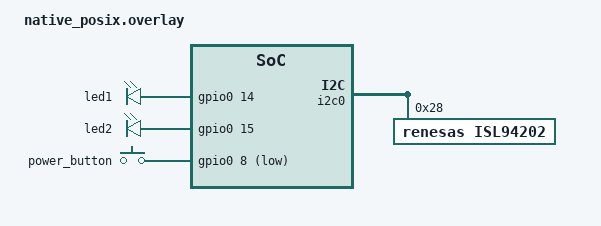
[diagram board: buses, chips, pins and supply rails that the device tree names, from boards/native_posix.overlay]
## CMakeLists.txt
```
# Copyright (c) The Libre Solar Project Contributors
# SPDX-License-Identifier: Apache-2.0

set(BOARD_ROOT ${CMAKE_SOURCE_DIR}/..)
set(DTS_ROOT ${CMAKE_SOURCE_DIR}/..)

set(BOARD "native_posix")

cmake_minimum_required(VERSION 3.13.1)
find_package(Zephyr REQUIRED HINTS $ENV{ZEPHYR_BASE})

project(libre_solar_bms_tests)

add_definitions(-DUNITY_OUTPUT_COLOR)
add_definitions(-DUNITY_EXCLUDE_SETJMP)

zephyr_include_directories(./src)
zephyr_include_directories(../app/src)

zephyr_include_directories(../../modules/thingset/src)
zephyr_include_directories(../../modules/unity/src)

target_sources(app PRIVATE
        ../../modules/unity/src/unity.c
        ../app/src/bms_common.c
        ../app/src/bms_soc.c
        ../app/src/helper.c
        src/main.c
        src/common_tests.c
        src/helper_tests.c
)

zephyr_library_sources_ifdef(CONFIG_BMS_IC_BQ769X2
    src/bq769x2_tests_functions.c
    src/bq769x2_tests_interface.c
)

zephyr_library_sources_ifdef(CONFIG_BMS_IC_ISL94202
    src/isl94202_tests.c
)

# determine git tag and commit hash for automatic firmware versioning
find_package(Git)
if(GIT_FOUND)
    execute_process(
        COMMAND ${GIT_EXECUTABLE} describe --long --dirty --tags
        OUTPUT_VARIABLE FIRMWARE_VERSION_ID
        OUTPUT_STRIP_TRAILING_WHITESPACE)
else()
    set(FIRMWARE_VERSION_ID "unknown")
endif()
add_definitions(-DFIRMWARE_VERSION_ID="${FIRMWARE_VERSION_ID}")
```

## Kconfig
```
rsource "../app/Kconfig"
```

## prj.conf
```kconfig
# Main application configuration (overrides board-specific settings)

CONFIG_TASK_WDT=y
CONFIG_THREAD_NAME=y

CONFIG_REBOOT=y

CONFIG_HWINFO=y

CONFIG_LOG=y
CONFIG_LOG_MODE_MINIMAL=y

CONFIG_SERIAL=y

CONFIG_THINGSET=y
CONFIG_THINGSET_SDK=y
CONFIG_THINGSET_SERIAL=y

# Change default battery nominal capacity (in Ah)
CONFIG_BAT_CAPACITY_AH=100

# Select cell type for initial configuration: LFP (default), NMC, NMC_HV or LTO
CONFIG_CELL_TYPE_LFP=y

CONFIG_BMS_IC=y
CONFIG_BMS_IC_MAX_THERMISTORS=2
```

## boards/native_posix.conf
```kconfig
# required to generate node ID in ThingSet
CONFIG_ENTROPY_GENERATOR=y
CONFIG_ENTROPY_DEVICE_RANDOM_GENERATOR=y
```

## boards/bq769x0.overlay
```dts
/*
 * Copyright (c) The Libre Solar Project Contributors
 *
 * SPDX-License-Identifier: Apache-2.0
 */

#include "native_posix.overlay"

/ {
        pcb {
                num-cells-max = <15>;
        };
};

&bq769x0 {
        status = "okay";
};

&isl94202 {
        status = "disabled";
};
```

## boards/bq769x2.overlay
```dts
/*
 * Copyright (c) The Libre Solar Project Contributors
 *
 * SPDX-License-Identifier: Apache-2.0
 */

#include <dt-bindings/bms_ic/bq769x2.h>

/ {
	aliases {
                bms-ic = &bq769x2;
        };
};

&i2c0 {
	status = "okay";

	bq769x2: bq76952@8 {
		compatible = "ti,bq769x2-i2c";
		reg = <0x08>;
		alert-gpios = <&gpio0 2 GPIO_ACTIVE_HIGH>;
		used-cell-channels = <0xFFFF>;
		/* all NTCs configured with 18k pull-up */
		ts1-pin-config = <0x07>;
		dchg-pin-config = <0x07>;
		cell-temp-pins = <BQ769X2_PIN_TS1>;
		fet-temp-pin = <BQ769X2_PIN_DCHG>;
		board-max-current = <200>;
		shunt-resistor-uohm = <1500>;
		status = "okay";
	};
};
```

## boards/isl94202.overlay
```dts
/*
 * Copyright (c) The Libre Solar Project Contributors
 *
 * SPDX-License-Identifier: Apache-2.0
 */

#include "native_posix.overlay"

&bq769x0 {
        status = "disabled";
};

&bq769x2 {
        status = "disabled";
};

&isl94202 {
        status = "okay";
};
```

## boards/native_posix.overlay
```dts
/*
 * Copyright (c) The Libre Solar Project Contributors
 *
 * SPDX-License-Identifier: Apache-2.0
 */

/ {
	/* delete conflicting nodes from Zephyr native_posix board */
	/delete-node/ aliases;

	pcb {
		compatible = "bms";

		type = "Native POSIX dummy";
		version-str = "v0.1";
		version-num = <1>;

		num-cells-max = <8>;
		num-thermistors-max = <2>;

		current-max = <50>;
		shunt-res = <1500>;
	};

	chosen {
		zephyr,console = &uart0;
		zephyr,shell-uart = &uart0;
		zephyr,flash = &flash0;
	};

	leds {
		compatible = "gpio-leds";
		led1: led_0 {
			gpios = <&gpio0 14 GPIO_ACTIVE_HIGH>;
		};
		led2: led_1 {
			gpios = <&gpio0 15 GPIO_ACTIVE_HIGH>;
		};
	};

	gpio_keys {
		compatible = "gpio-keys";
		power_button: button {
			gpios = <&gpio0 8 GPIO_ACTIVE_LOW>;
		};
	};

	aliases {
		led-red = &led1;
		led-green = &led2;
		sw-pwr = &power_button;
		uart-dbg = &uart0;
		uart-uext = &uart0;
	};
};

&i2c0 {
	bq769x0: bq769x0@8 {
		compatible = "ti,bq769x0";
		reg = <0x08>;    	// ignored (firmware will auto-detect I2C address)
		alert-gpios = <&gpio0 12 GPIO_ACTIVE_HIGH>;
		status = "disabled";
	};

	bq769x2: bq769x2@8 {
		compatible = "ti,bq769x2-i2c";
		reg = <0x08>;	/* 0x10 >> 1 */
		alert-gpios = <&gpio0 8 GPIO_ACTIVE_HIGH>;
		status = "disabled";
	};

	/* selected by default, override via overlay */
	isl94202: isl94202@28 {
		compatible = "renesas,isl94202";
		reg = <0x28>;	/* 0x50 >> 1 */
		status = "okay";
	};
};
```

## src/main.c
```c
/*
 * Copyright (c) The Libre Solar Project Contributors
 *
 * SPDX-License-Identifier: Apache-2.0
 */

#include <bms/bms.h>

#include "bq769x2_tests.h"
#include "common_tests.h"
#include "helper_tests.h"
#include "isl94202_tests.h"

#include "unity.h"

#include <stdio.h>

#include <zephyr/device.h>
#include <zephyr/kernel.h>

#ifdef CONFIG_ARCH_POSIX
#include "posix_board_if.h"
#endif

static const struct device *bms_ic = DEVICE_DT_GET(DT_ALIAS(bms_ic));

struct bms_context bms;

float OCV[] = { // 100, 95, ..., 0 %
    3.392, 3.314, 3.309, 3.308, 3.304, 3.296, 3.283, 3.275, 3.271, 3.268, 3.265,
    3.264, 3.262, 3.252, 3.240, 3.226, 3.213, 3.190, 3.177, 3.132, 2.833
};

void setUp(void)
{}

void tearDown(void)
{}

void setup()
{
    bms_ic_assign_data(bms_ic, &bms.ic_data);

    bms.ic_conf.dis_sc_limit = 35.0;
    bms.ic_conf.dis_sc_delay_us = 200;

    bms.ic_conf.dis_oc_limit = 25.0;
    bms.ic_conf.dis_oc_delay_ms = 320;

    bms.ic_conf.chg_oc_limit = 20.0;
    bms.ic_conf.chg_oc_delay_ms = 320;

    bms.ic_conf.cell_ov_limit = 3.65;
    bms.ic_conf.cell_ov_delay_ms = 2000;

    bms.ic_conf.cell_uv_limit = 2.8;
    bms.ic_conf.cell_uv_delay_ms = 2000;

    bms.ic_conf.dis_ut_limit = -20;
    bms.ic_conf.dis_ot_limit = 45;
    bms.ic_conf.chg_ut_limit = 0;
    bms.ic_conf.chg_ot_limit = 45;
    bms.ic_conf.temp_limit_hyst = 2;

    bms.ocv_points = OCV;

    bms.nominal_capacity_Ah = 45.0;
    bms.ic_data.connected_cells = 4;

    bms.ic_conf.bal_cell_voltage_min = 3.2;
    bms.ic_conf.bal_idle_delay = 10 * 60;
    bms.ic_conf.bal_cell_voltage_diff = 0.01;
    bms.ic_conf.bal_idle_current = 0.1;

    bms_ic_configure(bms_ic, &bms.ic_conf, BMS_IC_CONF_ALL);

    bms_ic_read_data(bms_ic, BMS_IC_DATA_CELL_VOLTAGES);

    bms_soc_reset(&bms, -1);
    bms_ic_set_switches(bms_ic, BMS_SWITCH_DIS, true);
    bms_ic_set_switches(bms_ic, BMS_SWITCH_CHG, true);
}

int main(void)
{
    int err = 0;

    k_sleep(K_MSEC(100));

    setup();

    err += common_tests();

#ifdef CONFIG_BMS_IC_BQ769X0
    err += bq769x0_tests();
#elif defined(CONFIG_BMS_IC_BQ769X2)
    err += bq769x2_tests_functions();
    err += bq769x2_tests_interface();
#elif defined(CONFIG_BMS_IC_ISL94202)
    err += isl94202_tests();
#endif

    err += helper_tests();

#ifdef CONFIG_ARCH_POSIX
    posix_exit(err);
#endif

    return 0;
}
```

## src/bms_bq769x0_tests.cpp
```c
/*
 * Copyright (c) The Libre Solar Project Contributors
 *
 * SPDX-License-Identifier: Apache-2.0
 */

#include "tests.h"

#include "bms.h"

#include <time.h>
#include <stdio.h>

extern BmsConfig bms_conf;
extern BmsStatus bms_status;

extern uint8_t mem_bq[0x60];     // defined in bq769x0_interface_stub

// fill RAM and flash with suitable values
static void init_bq769x0_ram()
{
    /* TODO */
}

void test_bq769x0_init()
{
    init_bq769x0_ram();
    bms_init_hardware();
    TEST_ASSERT(0);
}

void test_bq769x0_read_cell_voltages()
{
    init_bq769x0_ram();
    bms_read_voltages(&bms_status);
    TEST_ASSERT_EQUAL_FLOAT(3.0, roundf(bms_status.cell_voltages[0] * 100) / 100);
    TEST_ASSERT_EQUAL_FLOAT(3.1, roundf(bms_status.cell_voltages[1] * 100) / 100);
    TEST_ASSERT_EQUAL_FLOAT(3.2, roundf(bms_status.cell_voltages[2] * 100) / 100);
    TEST_ASSERT_EQUAL_FLOAT(3.3, roundf(bms_status.cell_voltages[3] * 100) / 100);
    TEST_ASSERT_EQUAL_FLOAT(3.4, roundf(bms_status.cell_voltages[4] * 100) / 100);
    TEST_ASSERT_EQUAL_FLOAT(3.5, roundf(bms_status.cell_voltages[5] * 100) / 100);
    TEST_ASSERT_EQUAL_FLOAT(3.6, roundf(bms_status.cell_voltages[6] * 100) / 100);
    TEST_ASSERT_EQUAL_FLOAT(3.7, roundf(bms_status.cell_voltages[7] * 100) / 100);
}

void test_bq769x0_read_pack_voltage()
{
    init_bq769x0_ram();
    bms_read_voltages(&bms_status);
    TEST_ASSERT_EQUAL_FLOAT(3.3*8, roundf(bms_status.pack_voltage * 10) / 10);
}

void test_bq769x0_read_min_max_avg_voltage()
{
    init_bq769x0_ram();
    bms_read_voltages(&bms_status);
    TEST_ASSERT_EQUAL_FLOAT(3.0, roundf(bms_status.cell_voltage_min * 100) / 100);
    TEST_ASSERT_EQUAL_FLOAT(3.7, roundf(bms_status.cell_voltage_max * 100) / 100);
    TEST_ASSERT_EQUAL_FLOAT(3.35, roundf(bms_status.cell_voltage_avg * 100) / 100);
}

void test_bq769x0_read_pack_current()
{
    /* TODO */
    TEST_ASSERT(0);
}

void test_bq769x0_read_error_flags()
{
    /* TODO */
    TEST_ASSERT(0);
}

void test_bq769x0_read_temperatures()
{
    /* TODO */
    TEST_ASSERT(0);
}

void test_bq769x0_apply_dis_ocp_limits()
{
    /* TODO */
    TEST_ASSERT(0);
}

void test_bq769x0_apply_chg_ocp_limits()
{
    /* TODO */
    TEST_ASSERT(0);
}

void test_bq769x0_apply_dis_scp_limits()
{
    /* TODO */
    TEST_ASSERT(0);
}

void test_bq769x0_apply_cell_ov_limits()
{
    /* TODO */
    TEST_ASSERT(0);
}

void test_bq769x0_apply_cell_uv_limits()
{
    /* TODO */
    TEST_ASSERT(0);
}

int bq769x0_tests()
{
    UNITY_BEGIN();

    //RUN_TEST(test_bq769x0_init);

    //RUN_TEST(test_bq769x0_read_cell_voltages);
    //RUN_TEST(test_bq769x0_read_pack_voltage);
    //RUN_TEST(test_bq769x0_read_min_max_avg_voltage);
    //RUN_TEST(test_bq769x0_read_pack_current);
    //RUN_TEST(test_bq769x0_read_error_flags);
    //RUN_TEST(test_bq769x0_read_temperatures);

    //RUN_TEST(test_bq769x0_apply_dis_ocp_limits);
    //RUN_TEST(test_bq769x0_apply_chg_ocp_limits);
    //RUN_TEST(test_bq769x0_apply_dis_scp_limits);

    //RUN_TEST(test_bq769x0_apply_cell_ov_limits);
    //RUN_TEST(test_bq769x0_apply_cell_uv_limits);

    return UNITY_END();
}
```

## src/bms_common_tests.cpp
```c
/*
 * Copyright (c) The Libre Solar Project Contributors
 *
 * SPDX-License-Identifier: Apache-2.0
 */

#include "tests.h"

#include "bms.h"

#include <time.h>
#include <stdio.h>

extern BmsConfig bms_conf;
extern BmsStatus bms_status;

void init_conf()
{
    bms_conf.cell_ov_limit = 3.65;
    bms_conf.cell_ov_delay_ms = 2000;

    bms_conf.cell_uv_limit = 2.8;
    bms_conf.cell_uv_delay_ms = 2000;

    bms_conf.dis_ut_limit = -20;
    bms_conf.dis_ot_limit = 45;
    bms_conf.chg_ut_limit = 0;
    bms_conf.chg_ot_limit = 45;
    bms_conf.t_limit_hyst = 2;

    bms_conf.bal_cell_voltage_min = 3.2;
    bms_conf.bal_idle_delay = 5*60;
    bms_conf.bal_cell_voltage_diff = 0.01;

    for (int i = 0; i < BOARD_NUM_CELLS_MAX; i++) {
        bms_status.cell_voltages[i] = 3.3;
    }
    bms_status.cell_voltage_min = 3.3;
    bms_status.cell_voltage_max = 3.3;
    bms_status.cell_voltage_avg = 3.3;

    for (int i = 0; i < BOARD_NUM_THERMISTORS_MAX; i++) {
        bms_status.bat_temps[i] = 25;
    }
    bms_status.bat_temp_min = 25;
    bms_status.bat_temp_max = 25;
    bms_status.bat_temp_avg = 25;

    bms_status.state = BMS_STATE_OFF;
    bms_status.error_flags = 0;

    bms_status.full = false;
    bms_status.empty = false;

    bms_status.chg_enable = true;
    bms_status.dis_enable = true;
}

void no_off2dis_if_dis_nok()
{
    init_conf();
    bms_status.empty = true;
    bms_state_machine(&bms_conf, &bms_status);
    TEST_ASSERT_NOT_EQUAL(BMS_STATE_DIS, bms_status.state);

    init_conf();
    bms_status.error_flags |= (1U << BMS_ERR_DIS_OVERTEMP);
    bms_state_machine(&bms_conf, &bms_status);
    TEST_ASSERT_NOT_EQUAL(BMS_STATE_DIS, bms_status.state);
}

void off2dis_if_dis_ok()
{
    init_conf();
    bms_status.full = true;
    bms_state_machine(&bms_conf, &bms_status);
    TEST_ASSERT_EQUAL(BMS_STATE_DIS, bms_status.state);
}

void no_off2chg_if_chg_ok()
{
    init_conf();
    bms_state_machine(&bms_conf, &bms_status);
    TEST_ASSERT_NOT_EQUAL(BMS_STATE_CHG, bms_status.state);
}

void off2chg_if_chg_ok_and_dis_nok()
{
    init_conf();
    bms_status.empty = true;
    bms_state_machine(&bms_conf, &bms_status);
    TEST_ASSERT_EQUAL(BMS_STATE_CHG, bms_status.state);

    init_conf();
    bms_status.error_flags |= (1U << BMS_ERR_DIS_OVERTEMP);
    bms_state_machine(&bms_conf, &bms_status);
    TEST_ASSERT_EQUAL(BMS_STATE_CHG, bms_status.state);
}

void chg2off_if_chg_nok()
{
    init_conf();
    bms_status.state = BMS_STATE_CHG;
    bms_status.full = true;
    bms_state_machine(&bms_conf, &bms_status);
    TEST_ASSERT_EQUAL(BMS_STATE_OFF, bms_status.state);

    init_conf();
    bms_status.state = BMS_STATE_CHG;
    bms_status.error_flags |= (1U << BMS_ERR_CHG_OVERTEMP);
    bms_state_machine(&bms_conf, &bms_status);
    TEST_ASSERT_EQUAL(BMS_STATE_OFF, bms_status.state);
}

void chg2normal_if_dis_ok()
{
    init_conf();
    bms_status.state = BMS_STATE_CHG;
    bms_state_machine(&bms_conf, &bms_status);
    TEST_ASSERT_EQUAL(BMS_STATE_NORMAL, bms_status.state);
}

void dis2off_if_dis_nok()
{
    init_conf();
    bms_status.state = BMS_STATE_DIS;
    bms_status.empty = true;
    bms_state_machine(&bms_conf, &bms_status);
    TEST_ASSERT_EQUAL(BMS_STATE_OFF, bms_status.state);

    init_conf();
    bms_status.state = BMS_STATE_DIS;
    bms_status.error_flags |= (1U << BMS_ERR_DIS_OVERTEMP);
    bms_state_machine(&bms_conf, &bms_status);
    TEST_ASSERT_EQUAL(BMS_STATE_OFF, bms_status.state);
}

void dis2normal_if_chg_ok()
{
    init_conf();
    bms_status.state = BMS_STATE_DIS;
    bms_state_machine(&bms_conf, &bms_status);
    TEST_ASSERT_EQUAL(BMS_STATE_NORMAL, bms_status.state);
}

void normal2dis_if_chg_nok()
{
    init_conf();
    bms_status.state = BMS_STATE_NORMAL;
    bms_status.full = true;
    bms_state_machine(&bms_conf, &bms_status);
    TEST_ASSERT_EQUAL(BMS_STATE_DIS, bms_status.state);

    init_conf();
    bms_status.state = BMS_STATE_NORMAL;
    bms_status.error_flags |= (1U << BMS_ERR_CHG_OVERTEMP);
    bms_state_machine(&bms_conf, &bms_status);
    TEST_ASSERT_EQUAL(BMS_STATE_DIS, bms_status.state);
}

void normal2chg_if_dis_nok()
{
    init_conf();
    bms_status.state = BMS_STATE_NORMAL;
    bms_status.empty = true;
    bms_state_machine(&bms_conf, &bms_status);
    TEST_ASSERT_EQUAL(BMS_STATE_CHG, bms_status.state);

    init_conf();
    bms_status.state = BMS_STATE_NORMAL;
    bms_status.error_flags |= (1U << BMS_ERR_DIS_OVERTEMP);
    bms_state_machine(&bms_conf, &bms_status);
    TEST_ASSERT_EQUAL(BMS_STATE_CHG, bms_status.state);
}
/*
void no_normal2balancing_if_nok()
{
    init_conf();
    bms_status.state = BMS_STATE_NORMAL;
    bms_status.cell_voltages[3] += 0.011;
    bms_status.cell_voltage_max = bms_status.cell_voltages[3];
    bms_status.cell_voltage_min = bms_status.cell_voltages[2];

    // idle time not long enough
    bms_status.no_idle_timestamp = time(NULL) - 5*60 + 1;
    bms_state_machine(&bms_conf, &bms_status);
    TEST_ASSERT_EQUAL(BMS_STATE_NORMAL, bms_status.state);

    // SOC too low
    bms_status.pack_current = bms_conf.bal_idle_current - 0.1;
    bms_status.cell_voltages[3] = bms_conf.bal_cell_voltage_min + 0.1;
    bms_status.cell_voltage_max = bms_status.cell_voltages[3];
    bms_state_machine(&bms_conf, &bms_status);
    TEST_ASSERT_EQUAL(BMS_STATE_NORMAL, bms_status.state);
}

void normal2balancing_if_ok()
{
    init_conf();
    bms_status.state = BMS_STATE_NORMAL;
    bms_status.no_idle_timestamp = time(NULL) - 5*60 - 1;
    bms_status.cell_voltages[3] += 0.011;
    bms_status.cell_voltage_max = bms_status.cell_voltages[3];
    bms_status.cell_voltage_min = bms_status.cell_voltages[2];
    bms_state_machine(&bms_conf, &bms_status);
    TEST_ASSERT_EQUAL(BMS_STATE_BALANCING, bms_status.state);
}

void balancing2normal_at_increased_current()
{
    init_conf();
    bms_status.state = BMS_STATE_BALANCING;
    bms_status.no_idle_timestamp = time(NULL);
    bms_state_machine(&bms_conf, &bms_status);
    TEST_ASSERT_EQUAL(BMS_STATE_NORMAL, bms_status.state);
}

void balancing2normal_if_done()
{
    init_conf();
    bms_status.state = BMS_STATE_BALANCING;
    bms_status.no_idle_timestamp = time(NULL) - 5*60 - 1;
    bms_status.cell_voltages[3] = 3.309;
    bms_status.cell_voltage_max = bms_status.cell_voltages[3];
    bms_status.cell_voltages[2] = 3.3;
    bms_status.cell_voltage_min = bms_status.cell_voltages[2];
    bms_state_machine(&bms_conf, &bms_status);
    TEST_ASSERT_EQUAL(BMS_STATE_NORMAL, bms_status.state);
}
*/

int common_tests()
{
    UNITY_BEGIN();

    // state machine
    RUN_TEST(no_off2dis_if_dis_nok);
    RUN_TEST(off2dis_if_dis_ok);

    RUN_TEST(no_off2chg_if_chg_ok);
    RUN_TEST(off2chg_if_chg_ok_and_dis_nok);

    RUN_TEST(chg2off_if_chg_nok);
    RUN_TEST(chg2normal_if_dis_ok);

    RUN_TEST(dis2off_if_dis_nok);
    RUN_TEST(dis2normal_if_chg_ok);
    //RUN_TEST(dis2balancing_if_ok);

    RUN_TEST(normal2dis_if_chg_nok);

    RUN_TEST(normal2chg_if_dis_nok);

    //RUN_TEST(no_normal2balancing_if_nok);
    //RUN_TEST(normal2balancing_if_ok);   // ok = high SOC and current low
    //RUN_TEST(balancing2normal_at_increased_current);
    //RUN_TEST(balancing2normal_if_done);
    //RUN_TEST(balancing2dis_at_increased_current);
    //RUN_TEST(balancing2dis_if_done);

    return UNITY_END();
}
```

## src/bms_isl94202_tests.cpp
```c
/*
 * Copyright (c) The Libre Solar Project Contributors
 *
 * SPDX-License-Identifier: Apache-2.0
 */

#include "tests.h"

#include "bms.h"

#include <time.h>
#include <stdio.h>

extern BmsConfig bms_conf;
extern BmsStatus bms_status;

extern uint8_t mem_isl[0xAB+1];     // defined in isl94202_interface_stub

// fill RAM and flash with suitable values
static void init_isl94202_ram()
{
    // Cell voltages
    // voltage = hexvalue * 1.8 * 8 / (4095 * 3)
    // hexvalue = voltage / (1.8 * 8) * 4095 * 3
    *((uint16_t*)&mem_isl[0x90]) = 3.0 / (1.8 * 8) * 4095 * 3;      // Cell 1
    *((uint16_t*)&mem_isl[0x92]) = 3.1 / (1.8 * 8) * 4095 * 3;      // Cell 2
    *((uint16_t*)&mem_isl[0x94]) = 3.2 / (1.8 * 8) * 4095 * 3;      // Cell 3
    *((uint16_t*)&mem_isl[0x96]) = 3.3 / (1.8 * 8) * 4095 * 3;      // Cell 4
    *((uint16_t*)&mem_isl[0x98]) = 3.4 / (1.8 * 8) * 4095 * 3;      // Cell 5
    *((uint16_t*)&mem_isl[0x9A]) = 3.5 / (1.8 * 8) * 4095 * 3;      // Cell 6
    *((uint16_t*)&mem_isl[0x9C]) = 3.6 / (1.8 * 8) * 4095 * 3;      // Cell 7
    *((uint16_t*)&mem_isl[0x9E]) = 3.7 / (1.8 * 8) * 4095 * 3;      // Cell 8

    // Pack voltage
    *((uint16_t*)&mem_isl[0xA6]) = 3.3*8 / (1.8 * 32) * 4095;
}

void test_isl94202_init()
{
    init_isl94202_ram();
    bms_init_hardware();

    // expected feature control register
    uint16_t fc_reg = 0;
    fc_reg |= 1U << 5;   // XT2M
    fc_reg |= 1U << 8;   // CB_EOC
    fc_reg |= 1U << 14;  // CBDC
    TEST_ASSERT_EQUAL_HEX16(fc_reg, *((uint16_t*)&mem_isl[0x4A]));
}

void test_isl94202_read_cell_voltages()
{
    init_isl94202_ram();
    bms_read_voltages(&bms_status);
    TEST_ASSERT_EQUAL_FLOAT(3.0, roundf(bms_status.cell_voltages[0] * 100) / 100);
    TEST_ASSERT_EQUAL_FLOAT(3.1, roundf(bms_status.cell_voltages[1] * 100) / 100);
    TEST_ASSERT_EQUAL_FLOAT(3.2, roundf(bms_status.cell_voltages[2] * 100) / 100);
    TEST_ASSERT_EQUAL_FLOAT(3.3, roundf(bms_status.cell_voltages[3] * 100) / 100);
    TEST_ASSERT_EQUAL_FLOAT(3.4, roundf(bms_status.cell_voltages[4] * 100) / 100);
    TEST_ASSERT_EQUAL_FLOAT(3.5, roundf(bms_status.cell_voltages[5] * 100) / 100);
    TEST_ASSERT_EQUAL_FLOAT(3.6, roundf(bms_status.cell_voltages[6] * 100) / 100);
    TEST_ASSERT_EQUAL_FLOAT(3.7, roundf(bms_status.cell_voltages[7] * 100) / 100);
}

void test_isl94202_read_pack_voltage()
{
    init_isl94202_ram();
    bms_read_voltages(&bms_status);

    // previous test (if battery voltage measurement is used)
    //TEST_ASSERT_EQUAL_FLOAT(3.3*8, roundf(bms_status.pack_voltage * 10) / 10);

    // now using sum of cell voltages instead of battery voltage
    TEST_ASSERT_EQUAL_FLOAT((3.0+3.7)/2.0*8, roundf(bms_status.pack_voltage * 10) / 10);
}

void test_isl94202_read_min_max_avg_voltage()
{
    init_isl94202_ram();
    bms_read_voltages(&bms_status);
    TEST_ASSERT_EQUAL_FLOAT(3.0, roundf(bms_status.cell_voltage_min * 100) / 100);
    TEST_ASSERT_EQUAL_FLOAT(3.7, roundf(bms_status.cell_voltage_max * 100) / 100);
    TEST_ASSERT_EQUAL_FLOAT(3.35, roundf(bms_status.cell_voltage_avg * 100) / 100);
}

void test_isl94202_read_pack_current()
{
    bms_conf.shunt_res_mOhm = 2.0;  // take something different from 1.0

    // charge current, gain 5
    mem_isl[0x82] = 0x01U << 2;     // CHING
    mem_isl[0x85] = 0x01U << 4;     // gain 5
    *((uint16_t*)&mem_isl[0x8E]) = 117.14F / 1.8F * 4095 * 5 * bms_conf.shunt_res_mOhm / 1000;   // ADC reading

    bms_read_current(&bms_conf, &bms_status);
    TEST_ASSERT_EQUAL_FLOAT(117.1, roundf(bms_status.pack_current * 10) / 10);

    // discharge current, gain 50
    mem_isl[0x82] = 0x01U << 3;     // DCHING
    mem_isl[0x85] = 0x00U;          // gain 50
    *((uint16_t*)&mem_isl[0x8E]) = 12.14F / 1.8F * 4095 * 50 * bms_conf.shunt_res_mOhm / 1000;   // ADC reading

    bms_read_current(&bms_conf, &bms_status);
    TEST_ASSERT_EQUAL_FLOAT(-12.14, roundf(bms_status.pack_current * 100) / 100);

    // low current, gain 500
    mem_isl[0x82] = 0x00U;          // neither CHING nor DCHING
    mem_isl[0x85] = 0x02U << 4;     // gain 500
    *((uint16_t*)&mem_isl[0x8E]) = 1.14 / 1.8 * 4095 * 500 * bms_conf.shunt_res_mOhm / 1000;   // ADC reading

    bms_read_current(&bms_conf, &bms_status);
    TEST_ASSERT_EQUAL_FLOAT(0, roundf(bms_status.pack_current * 100) / 100);
}

void test_isl94202_read_error_flags()
{
    /* assume CFET and DFET are on */
    *((uint16_t*)&mem_isl[0x86]) = 0x03U;

    *((uint16_t*)&mem_isl[0x80]) = 0x01U << 2;
    bms_update_error_flags(&bms_conf, &bms_status);
    TEST_ASSERT_EQUAL_UINT32(1U << BMS_ERR_CELL_UNDERVOLTAGE, bms_status.error_flags);

    *((uint16_t*)&mem_isl[0x80]) = 0x01U << 0;
    bms_update_error_flags(&bms_conf, &bms_status);
    TEST_ASSERT_EQUAL_UINT32(1U << BMS_ERR_CELL_OVERVOLTAGE, bms_status.error_flags);

    *((uint16_t*)&mem_isl[0x80]) = 0x01U << 11;
    bms_update_error_flags(&bms_conf, &bms_status);
    TEST_ASSERT_EQUAL_UINT32(1U << BMS_ERR_SHORT_CIRCUIT, bms_status.error_flags);

    *((uint16_t*)&mem_isl[0x80]) = 0x01U << 10;
    bms_update_error_flags(&bms_conf, &bms_status);
    TEST_ASSERT_EQUAL_UINT32(1U << BMS_ERR_DIS_OVERCURRENT, bms_status.error_flags);

    *((uint16_t*)&mem_isl[0x80]) = 0x01U << 9;
    bms_update_error_flags(&bms_conf, &bms_status);
    TEST_ASSERT_EQUAL_UINT32(1U << BMS_ERR_CHG_OVERCURRENT, bms_status.error_flags);

    *((uint16_t*)&mem_isl[0x80]) = 0x01U << 13;
    bms_update_error_flags(&bms_conf, &bms_status);
    TEST_ASSERT_EQUAL_UINT32(1U << BMS_ERR_OPEN_WIRE, bms_status.error_flags);

    *((uint16_t*)&mem_isl[0x80]) = 0x01U << 5;
    bms_update_error_flags(&bms_conf, &bms_status);
    TEST_ASSERT_EQUAL_UINT32(1U << BMS_ERR_DIS_UNDERTEMP, bms_status.error_flags);

    *((uint16_t*)&mem_isl[0x80]) = 0x01U << 4;
    bms_update_error_flags(&bms_conf, &bms_status);
    TEST_ASSERT_EQUAL_UINT32(1U << BMS_ERR_DIS_OVERTEMP, bms_status.error_flags);

    *((uint16_t*)&mem_isl[0x80]) = 0x01U << 7;
    bms_update_error_flags(&bms_conf, &bms_status);
    TEST_ASSERT_EQUAL_UINT32(1U << BMS_ERR_CHG_UNDERTEMP, bms_status.error_flags);

    *((uint16_t*)&mem_isl[0x80]) = 0x01U << 6;
    bms_update_error_flags(&bms_conf, &bms_status);
    TEST_ASSERT_EQUAL_UINT32(1U << BMS_ERR_CHG_OVERTEMP, bms_status.error_flags);

    *((uint16_t*)&mem_isl[0x80]) = 0x01U << 12;
    bms_update_error_flags(&bms_conf, &bms_status);
    TEST_ASSERT_EQUAL_UINT32(1U << BMS_ERR_CELL_FAILURE, bms_status.error_flags);

    /* preparation for additional CHG / DSG FET error flags */
    *((uint16_t*)&mem_isl[0x80]) = 0;
    bms_status.state = BMS_STATE_NORMAL;

    /* turn CFET off */
    *((uint16_t*)&mem_isl[0x86]) = 0x01;
    bms_update_error_flags(&bms_conf, &bms_status);
    TEST_ASSERT_EQUAL_UINT32(1U << BMS_ERR_CHG_OFF, bms_status.error_flags);

    /* turn DFET off */
    *((uint16_t*)&mem_isl[0x86]) = 0x02;
    bms_update_error_flags(&bms_conf, &bms_status);
    TEST_ASSERT_EQUAL_UINT32(1U << BMS_ERR_DIS_OFF, bms_status.error_flags);
}

void test_isl94202_read_temperatures()
{
    // assuming 22k resistor and gain 2

    // Internal temperature
    *((uint16_t*)&mem_isl[0xA0]) = (22.0 + 273.15) * 1.8527 / 1000 / 1.8 * 4095;
    bms_read_temperatures(&bms_conf, &bms_status);
    TEST_ASSERT_EQUAL_FLOAT(22.0, roundf(bms_status.ic_temp * 10) / 10);

    // // External temperature 1 (check incl. interpolation)
    *((uint16_t*)&mem_isl[0xA2]) = 0.463 * 2 / 1.8 * 4095;      // 25°C
    bms_read_temperatures(&bms_conf, &bms_status);
    TEST_ASSERT_EQUAL_FLOAT(25.0, roundf(bms_status.bat_temp_avg * 10) / 10);

    *((uint16_t*)&mem_isl[0xA2]) = 0.150 * 2 / 1.8 * 4095;      // >80°C
    bms_read_temperatures(&bms_conf, &bms_status);
    TEST_ASSERT_EQUAL_FLOAT(80.0, roundf(bms_status.bat_temp_avg * 10) / 10);

    *((uint16_t*)&mem_isl[0xA2]) = 0.760 * 2 / 1.8 * 4095;      // <-40°C
    bms_read_temperatures(&bms_conf, &bms_status);
    TEST_ASSERT_EQUAL_FLOAT(-40.0, roundf(bms_status.bat_temp_avg * 10) / 10);

    *((uint16_t*)&mem_isl[0xA2]) = 0.4295 * 2 / 1.8 * 4095;      // 30°C
    bms_read_temperatures(&bms_conf, &bms_status);
    TEST_ASSERT_EQUAL_FLOAT(30.0, roundf(bms_status.bat_temp_avg * 10) / 10);

    // External temperature 2 (simple check)
    *((uint16_t*)&mem_isl[0xA4]) = 0.463 * 2 / 1.8 * 4095;      // 25°C
    bms_read_temperatures(&bms_conf, &bms_status);
    TEST_ASSERT_EQUAL_FLOAT(25.0, roundf(bms_status.mosfet_temp * 10) / 10);
}

void test_isl94202_apply_dis_ocp_limits()
{
    float act = 0;

    // see datasheet table 10.4
    bms_conf.shunt_res_mOhm = 2.0;  // take something different from 1.0
    bms_conf.dis_oc_delay_ms = 444;
    uint16_t delay = 444 + (1U << 10);

    // lower than minimum possible setting
    bms_conf.dis_oc_limit  = 1;
    act = bms_apply_dis_ocp(&bms_conf);
    TEST_ASSERT_EQUAL_FLOAT(2, act);    // take lowest possible value
    TEST_ASSERT_EQUAL_HEX16(delay | (0x0 << 12), *((uint16_t*)&mem_isl[0x16]));

    // something in the middle
    bms_conf.dis_oc_limit  = 20;
    act = bms_apply_dis_ocp(&bms_conf);
    TEST_ASSERT_EQUAL_FLOAT(16, act);    // round to next lower value
    TEST_ASSERT_EQUAL_HEX16(delay | (0x4U << 12), *((uint16_t*)&mem_isl[0x16]));

    // higher than maximum possible setting
    bms_conf.dis_oc_limit  = 50;
    act = bms_apply_dis_ocp(&bms_conf);
    TEST_ASSERT_EQUAL_FLOAT(48, act);
    TEST_ASSERT_EQUAL_HEX16(delay | (0x7U << 12), *((uint16_t*)&mem_isl[0x16]));
}

void test_isl94202_apply_chg_ocp_limits()
{
    float act = 0;

    // see datasheet table 10.5
    bms_conf.shunt_res_mOhm = 2.0;  // take something different from 1.0
    bms_conf.chg_oc_delay_ms = 333;
    uint16_t delay = 333 + (1U << 10);

    // lower than minimum possible setting
    bms_conf.chg_oc_limit  = 0.4;
    act = bms_apply_chg_ocp(&bms_conf);
    TEST_ASSERT_EQUAL_FLOAT(0.5, act);    // take lowest possible value
    TEST_ASSERT_EQUAL_HEX16(delay | (0x0 << 12), *((uint16_t*)&mem_isl[0x18]));

    // something in the middle
    bms_conf.chg_oc_limit  = 5.0;
    act = bms_apply_chg_ocp(&bms_conf);
    TEST_ASSERT_EQUAL_FLOAT(4.0, act);    // round to next lower value
    TEST_ASSERT_EQUAL_HEX16(delay | (0x4U << 12), *((uint16_t*)&mem_isl[0x18]));

    // higher than maximum possible setting
    bms_conf.chg_oc_limit  = 50.0;
    act = bms_apply_chg_ocp(&bms_conf);
    TEST_ASSERT_EQUAL_FLOAT(12.0, act);
    TEST_ASSERT_EQUAL_HEX16(delay | (0x7U << 12), *((uint16_t*)&mem_isl[0x18]));
}

void test_isl94202_apply_dis_scp_limits()
{
    float act = 0;

    // see datasheet table 10.6
    bms_conf.shunt_res_mOhm = 2.0;  // take something different from 1.0
    bms_conf.dis_sc_delay_us = 222;
    uint16_t delay = 222 + (0U << 10);

    // lower than minimum possible setting
    bms_conf.dis_sc_limit  = 5;
    act = bms_apply_dis_scp(&bms_conf);
    TEST_ASSERT_EQUAL_FLOAT(8, act);    // take lowest possible value
    TEST_ASSERT_EQUAL_HEX16(delay | (0x0 << 12), *((uint16_t*)&mem_isl[0x1A]));

    // something in the middle
    bms_conf.dis_sc_limit  = 40;
    act = bms_apply_dis_scp(&bms_conf);
    TEST_ASSERT_EQUAL_FLOAT(32, act);    // round to next lower value
    TEST_ASSERT_EQUAL_HEX16(delay | (0x4U << 12), *((uint16_t*)&mem_isl[0x1A]));

    // higher than maximum possible setting
    bms_conf.dis_sc_limit  = 150;
    act = bms_apply_dis_scp(&bms_conf);
    TEST_ASSERT_EQUAL_FLOAT(128, act);
    TEST_ASSERT_EQUAL_HEX16(delay | (0x7U << 12), *((uint16_t*)&mem_isl[0x1A]));
}

void test_isl94202_apply_cell_ov_limits()
{
    bms_conf.cell_ov_limit = 4.251;      // default value
    bms_conf.cell_ov_reset = 4.15;
    bms_conf.cell_ov_delay_ms = 999;
    uint16_t delay = 999 + (1U << 10);
    bms_apply_cell_ovp(&bms_conf);
    TEST_ASSERT_EQUAL_HEX16(0x1E2A, *((uint16_t*)&mem_isl[0x00]));  // limit voltage
    TEST_ASSERT_EQUAL_HEX16(0x0DD4, *((uint16_t*)&mem_isl[0x02]));  // recovery voltage
    TEST_ASSERT_EQUAL_HEX16(delay, *((uint16_t*)&mem_isl[0x10]));   // delay
}

void test_isl94202_apply_cell_uv_limits()
{
    bms_conf.cell_uv_limit = 2.7;       // default value
    bms_conf.cell_uv_reset = 3.0;
    bms_conf.cell_uv_delay_ms = 2222;
    uint16_t delay = 2222/1000 + (2U << 10);
    bms_apply_cell_uvp(&bms_conf);
    TEST_ASSERT_EQUAL_HEX16(0x18FF, *((uint16_t*)&mem_isl[0x04]));
    TEST_ASSERT_EQUAL_HEX16(0x09FF, *((uint16_t*)&mem_isl[0x06]));
    TEST_ASSERT_EQUAL_HEX16(delay, *((uint16_t*)&mem_isl[0x12]));
}

void test_isl94202_apply_chg_ot_limit()
{
    bms_conf.chg_ot_limit = 55;
    bms_conf.t_limit_hyst = 5;
    bms_apply_temp_limits(&bms_conf);
    TEST_ASSERT_EQUAL_HEX16(0x04D2, *((uint16_t*)&mem_isl[0x30]));      // datasheet: 0x04B6
    TEST_ASSERT_EQUAL_HEX16(0x053E, *((uint16_t*)&mem_isl[0x32]));
}

void test_isl94202_apply_chg_ut_limit()
{
    bms_conf.chg_ut_limit = -10;
    bms_conf.t_limit_hyst = 15;
    bms_apply_temp_limits(&bms_conf);
    TEST_ASSERT_EQUAL_HEX16(0x0CD1, *((uint16_t*)&mem_isl[0x34]));      // datasheet: 0x0BF2
    TEST_ASSERT_EQUAL_HEX16(0x0BBD, *((uint16_t*)&mem_isl[0x36]));      // datasheet: 0x0A93
}

void test_isl94202_apply_dis_ot_limit()
{
    bms_conf.dis_ot_limit = 55;
    bms_conf.t_limit_hyst = 5;
    bms_apply_temp_limits(&bms_conf);
    TEST_ASSERT_EQUAL_HEX16(0x04D2, *((uint16_t*)&mem_isl[0x38]));      // datasheet: 0x04B6
    TEST_ASSERT_EQUAL_HEX16(0x053E, *((uint16_t*)&mem_isl[0x3A]));
}

void test_isl94202_apply_dis_ut_limit()
{
    bms_conf.dis_ut_limit = -10;
    bms_conf.t_limit_hyst = 15;
    bms_apply_temp_limits(&bms_conf);
    TEST_ASSERT_EQUAL_HEX16(0x0CD1, *((uint16_t*)&mem_isl[0x3C]));      // datasheet: 0x0BF2
    TEST_ASSERT_EQUAL_HEX16(0x0BBD, *((uint16_t*)&mem_isl[0x3E]));      // datasheet: 0x0A93
}

int isl94202_tests()
{
    UNITY_BEGIN();

    RUN_TEST(test_isl94202_init);

    RUN_TEST(test_isl94202_read_cell_voltages);
    RUN_TEST(test_isl94202_read_pack_voltage);
    RUN_TEST(test_isl94202_read_min_max_avg_voltage);
    RUN_TEST(test_isl94202_read_pack_current);
    RUN_TEST(test_isl94202_read_error_flags);
    RUN_TEST(test_isl94202_read_temperatures);

    RUN_TEST(test_isl94202_apply_dis_ocp_limits);
    RUN_TEST(test_isl94202_apply_chg_ocp_limits);
    RUN_TEST(test_isl94202_apply_dis_scp_limits);

    RUN_TEST(test_isl94202_apply_cell_ov_limits);
    RUN_TEST(test_isl94202_apply_cell_uv_limits);

    RUN_TEST(test_isl94202_apply_chg_ot_limit);
    RUN_TEST(test_isl94202_apply_chg_ut_limit);
    RUN_TEST(test_isl94202_apply_dis_ot_limit);
    RUN_TEST(test_isl94202_apply_dis_ut_limit);

    return UNITY_END();
}
```

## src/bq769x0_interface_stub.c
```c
/*
 * Copyright (c) The Libre Solar Project Contributors
 *
 * SPDX-License-Identifier: Apache-2.0
 */

#include "board.h"

#include <stdint.h>
#include <stdio.h>
#include <string.h>

uint8_t mem_bq[0x60]; // Memory of bq769x0 (registers 0x00 to 0x59)

extern int adc_gain;
extern int adc_offset;

void bq769x0_write_byte(uint8_t reg_addr, int data)
{
    if (reg_addr < sizeof(mem_bq)) {
        mem_bq[reg_addr] = data;
    }
}

int bq769x0_read_byte(uint8_t reg_addr)
{
    if (reg_addr >= sizeof(mem_bq)) {
        return -1;
    }
    else {
        return mem_bq[reg_addr];
    }
}

int bq769x0_read_word(uint8_t reg_addr)
{
    if (reg_addr >= sizeof(mem_bq)) {
        return -1;
    }
    else {
        return *((uint16_t *)&mem_bq[reg_addr]);
    }
}

void bq769x0_init()
{
    /* initialize with reasonable defaults to avoid divide by zero */
    adc_gain = 365;
    adc_offset = 0;
}
```

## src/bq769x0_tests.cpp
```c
/*
 * Copyright (c) The Libre Solar Project Contributors
 *
 * SPDX-License-Identifier: Apache-2.0
 */

#include "bq769x0_tests.h"

#include "bms.h"

#include "unity.h"

#include <stdio.h>
#include <time.h>

extern Bms bms;

extern uint8_t mem_bq[0x60]; // defined in bq769x0_interface_stub

// fill RAM and flash with suitable values
static void init_bq769x0_ram()
{
    /* TODO */
}

void test_bq769x0_init()
{
    init_bq769x0_ram();
    bms_init_hardware(&bms);
    TEST_ASSERT(0);
}

void test_bq769x0_read_cell_voltages()
{
    init_bq769x0_ram();
    bms_read_voltages(&bms);
    TEST_ASSERT_EQUAL_FLOAT(3.0, roundf(bms.status.cell_voltages[0] * 100) / 100);
    TEST_ASSERT_EQUAL_FLOAT(3.1, roundf(bms.status.cell_voltages[1] * 100) / 100);
    TEST_ASSERT_EQUAL_FLOAT(3.2, roundf(bms.status.cell_voltages[2] * 100) / 100);
    TEST_ASSERT_EQUAL_FLOAT(3.3, roundf(bms.status.cell_voltages[3] * 100) / 100);
    TEST_ASSERT_EQUAL_FLOAT(3.4, roundf(bms.status.cell_voltages[4] * 100) / 100);
    TEST_ASSERT_EQUAL_FLOAT(3.5, roundf(bms.status.cell_voltages[5] * 100) / 100);
    TEST_ASSERT_EQUAL_FLOAT(3.6, roundf(bms.status.cell_voltages[6] * 100) / 100);
    TEST_ASSERT_EQUAL_FLOAT(3.7, roundf(bms.status.cell_voltages[7] * 100) / 100);
}

void test_bq769x0_read_pack_voltage()
{
    init_bq769x0_ram();
    bms_read_voltages(&bms);
    TEST_ASSERT_EQUAL_FLOAT(3.3 * 8, roundf(bms.status.pack_voltage * 10) / 10);
}

void test_bq769x0_read_min_max_avg_voltage()
{
    init_bq769x0_ram();
    bms_read_voltages(&bms);
    TEST_ASSERT_EQUAL_FLOAT(3.0, roundf(bms.status.cell_voltage_min * 100) / 100);
    TEST_ASSERT_EQUAL_FLOAT(3.7, roundf(bms.status.cell_voltage_max * 100) / 100);
    TEST_ASSERT_EQUAL_FLOAT(3.35, roundf(bms.status.cell_voltage_avg * 100) / 100);
}

void test_bq769x0_read_pack_current()
{
    /* TODO */
    TEST_ASSERT(0);
}

void test_bq769x0_read_error_flags()
{
    /* TODO */
    TEST_ASSERT(0);
}

void test_bq769x0_read_temperatures()
{
    /* TODO */
    TEST_ASSERT(0);
}

void test_bq769x0_apply_dis_ocp_limits()
{
    /* TODO */
    TEST_ASSERT(0);
}

void test_bq769x0_apply_chg_ocp_limits()
{
    /* TODO */
    TEST_ASSERT(0);
}

void test_bq769x0_apply_dis_scp_limits()
{
    /* TODO */
    TEST_ASSERT(0);
}

void test_bq769x0_apply_cell_ov_limits()
{
    /* TODO */
    TEST_ASSERT(0);
}

void test_bq769x0_apply_cell_uv_limits()
{
    /* TODO */
    TEST_ASSERT(0);
}

int bq769x0_tests()
{
    UNITY_BEGIN();

    // RUN_TEST(test_bq769x0_init);

    // RUN_TEST(test_bq769x0_read_cell_voltages);
    // RUN_TEST(test_bq769x0_read_pack_voltage);
    // RUN_TEST(test_bq769x0_read_min_max_avg_voltage);
    // RUN_TEST(test_bq769x0_read_pack_current);
    // RUN_TEST(test_bq769x0_read_error_flags);
    // RUN_TEST(test_bq769x0_read_temperatures);

    // RUN_TEST(test_bq769x0_apply_dis_ocp_limits);
    // RUN_TEST(test_bq769x0_apply_chg_ocp_limits);
    // RUN_TEST(test_bq769x0_apply_dis_scp_limits);

    // RUN_TEST(test_bq769x0_apply_cell_ov_limits);
    // RUN_TEST(test_bq769x0_apply_cell_uv_limits);

    return UNITY_END();
}
```

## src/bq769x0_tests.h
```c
/*
 * Copyright (c) The Libre Solar Project Contributors
 *
 * SPDX-License-Identifier: Apache-2.0
 */

#ifndef BQ769X0_TESTS_H_
#define BQ769X0_TESTS_H_

int bq769x0_tests();

#endif /* BQ769X0_TESTS_H_ */
```

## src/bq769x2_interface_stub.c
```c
/*
 * Copyright (c) The Libre Solar Project Contributors
 *
 * SPDX-License-Identifier: Apache-2.0
 */

#include "bq769x2/registers.h"
#include "bq769x2_tests.h"

#include "board.h"

#include <stdint.h>
#include <string.h>

// Memory of bq769x2 for direct commands
uint8_t mem_bq_direct[BQ_DIRECT_MEM_SIZE];

// Memory of bq769x2 for subcommands
uint8_t mem_bq_subcmd[BQ_SUBCMD_MEM_SIZE];

int bq769x2_write_bytes(const uint8_t reg_addr, const uint8_t *data, const size_t num_bytes)
{
    if (reg_addr >= sizeof(mem_bq_direct)) {
        return -EINVAL;
    }

    memcpy(&mem_bq_direct[reg_addr], data, num_bytes);

    if (reg_addr == BQ769X2_SUBCMD_DATA_CHECKSUM || reg_addr == BQ769X2_SUBCMD_DATA_LENGTH) {
        // writing to BQ769X2_SUBCMD_DATA_LENGTH starts execution of a subcommand

        uint16_t subcmd_addr = (mem_bq_direct[BQ769X2_CMD_SUBCMD_UPPER] << 8)
                               + mem_bq_direct[BQ769X2_CMD_SUBCMD_LOWER];
        uint8_t subcmd_bytes = mem_bq_direct[BQ769X2_SUBCMD_DATA_LENGTH] - 4;

        if (subcmd_addr >= sizeof(mem_bq_subcmd)) {
            return -EINVAL;
        }

        memcpy(&mem_bq_subcmd[subcmd_addr], &mem_bq_direct[BQ769X2_SUBCMD_DATA_START],
               subcmd_bytes);
    }
    else if (reg_addr == BQ769X2_CMD_SUBCMD_LOWER && num_bytes == 2) {
        // writing to SUBCMD register initiates a subcmd read

        uint16_t subcmd_addr = (mem_bq_direct[BQ769X2_CMD_SUBCMD_UPPER] << 8)
                               + mem_bq_direct[BQ769X2_CMD_SUBCMD_LOWER];

        if (subcmd_addr >= sizeof(mem_bq_subcmd)) {
            return -EINVAL;
        }

        memcpy(&mem_bq_direct[BQ769X2_SUBCMD_DATA_START], &mem_bq_subcmd[subcmd_addr], 4);

        // always assume maximum data type length of 4 bytes
        uint8_t checksum =
            mem_bq_direct[BQ769X2_CMD_SUBCMD_UPPER] + mem_bq_direct[BQ769X2_CMD_SUBCMD_LOWER];
        for (int i = 0; i < 4; i++) {
            checksum += mem_bq_direct[BQ769X2_SUBCMD_DATA_START + i];
        }
        checksum = ~checksum;

        mem_bq_direct[BQ769X2_SUBCMD_DATA_LENGTH] = 4 + 4;
        mem_bq_direct[BQ769X2_SUBCMD_DATA_CHECKSUM] = checksum;
    }

    return 0;
}

int bq769x2_read_bytes(const uint8_t reg_addr, uint8_t *data, const size_t num_bytes)
{
    if (reg_addr >= sizeof(mem_bq_direct)) {
        return -EINVAL;
    }

    memcpy(data, mem_bq_direct + reg_addr, num_bytes);

    return 0;
}

void bq769x2_init()
{
    /* nothing to do here */
}
```

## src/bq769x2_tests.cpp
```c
/*
 * Copyright (c) The Libre Solar Project Contributors
 *
 * SPDX-License-Identifier: Apache-2.0
 */

#include "bq769x2_tests.h"

#include "bms.h"
#include "bq769x2/interface.h"

#include "unity.h"

#include <time.h>
#include <stdio.h>

extern BmsConfig bms_conf;
extern BmsStatus bms_status;

// defined in bq769x2_interface_stub
extern uint8_t mem_bq_direct[BQ_DIRECT_MEM_SIZE];
extern uint8_t mem_bq_subcmd[BQ_SUBCMD_MEM_SIZE];

void test_bq769x2_direct_read_u2()
{
    uint16_t u2 = 0;
    int err;

    mem_bq_direct[0] = 0x00;
    mem_bq_direct[1] = 0x00;
    err = bq769x2_direct_read_u2(0, &u2);
    TEST_ASSERT_EQUAL(0, err);
    TEST_ASSERT_EQUAL(0, u2);

    mem_bq_direct[0] = 0xFF;
    mem_bq_direct[1] = 0xFF;
    err = bq769x2_direct_read_u2(0, &u2);
    TEST_ASSERT_EQUAL(0, err);
    TEST_ASSERT_EQUAL(UINT16_MAX, u2);
}

void test_bq769x2_direct_read_i2()
{
    int16_t i2 = 0;
    int err;

    mem_bq_direct[0] = 0x00;
    mem_bq_direct[1] = 0x00;
    err = bq769x2_direct_read_i2(0, &i2);
    TEST_ASSERT_EQUAL(0, err);
    TEST_ASSERT_EQUAL(0, i2);

    mem_bq_direct[0] = 0xFF;
    mem_bq_direct[1] = 0xFF;
    err = bq769x2_direct_read_i2(0, &i2);
    TEST_ASSERT_EQUAL(0, err);
    TEST_ASSERT_EQUAL(-1, i2);

    mem_bq_direct[0] = 0xFF;
    mem_bq_direct[1] = 0x7F;
    err = bq769x2_direct_read_i2(0, &i2);
    TEST_ASSERT_EQUAL(0, err);
    TEST_ASSERT_EQUAL(INT16_MAX, i2);

    mem_bq_direct[0] = 0x00;
    mem_bq_direct[1] = 0x80;
    err = bq769x2_direct_read_i2(0, &i2);
    TEST_ASSERT_EQUAL(0, err);
    TEST_ASSERT_EQUAL(INT16_MIN, i2);
}

void test_bq769x2_subcmd_read_u1()
{
    uint8_t value = 0;

    mem_bq_direct[0x40] = 0xFF;

    mem_bq_direct[0x60] = 0;        // checksum
    mem_bq_direct[0x61] = 4 + 1;    // length

    int err = bq769x2_subcmd_read_u1(0, &value);
    TEST_ASSERT_EQUAL(0, err);
    TEST_ASSERT_EQUAL(UINT8_MAX, value);
}

void test_bq769x2_subcmd_read_u2()
{
    uint16_t value = 0;

    mem_bq_direct[0x40] = 0x00;     // LSB
    mem_bq_direct[0x41] = 0xFF;     // MSB

    mem_bq_direct[0x60] = 0;        // checksum
    mem_bq_direct[0x61] = 4 + 2;    // length

    int err = bq769x2_subcmd_read_u2(0, &value);
    TEST_ASSERT_EQUAL(0, err);
    TEST_ASSERT_EQUAL(0xFF00, value);
}

void test_bq769x2_subcmd_read_u4()
{
    uint32_t value = 0;

    mem_bq_direct[0x40] = 0xAA;     // LSB
    mem_bq_direct[0x41] = 0xBB;
    mem_bq_direct[0x42] = 0xCC;
    mem_bq_direct[0x43] = 0xDD;     // MSB

    mem_bq_direct[0x60] = (uint8_t)~(0xAA + 0xBB + 0xCC + 0xDD);
    mem_bq_direct[0x61] = 4 + 4;

    int err = bq769x2_subcmd_read_u4(0, &value);
    TEST_ASSERT_EQUAL(0, err);
    TEST_ASSERT_EQUAL(0xDDCCBBAA, value);
}

void test_bq769x2_subcmd_read_i1()
{
    int8_t value = 0;

    mem_bq_direct[0x40] = 0x80;

    mem_bq_direct[0x60] = (uint8_t)~0x80;   // checksum
    mem_bq_direct[0x61] = 4 + 1;            // length

    int err = bq769x2_subcmd_read_i1(0, &value);
    TEST_ASSERT_EQUAL(0, err);
    TEST_ASSERT_EQUAL(INT8_MIN, value);
}

void test_bq769x2_subcmd_read_i2()
{
    int16_t value = 0;

    mem_bq_direct[0x40] = 0x00;     // LSB
    mem_bq_direct[0x41] = 0x80;     // MSB

    mem_bq_direct[0x60] = (uint8_t)~0x80;   // checksum
    mem_bq_direct[0x61] = 4 + 2;            // length

    int err = bq769x2_subcmd_read_i2(0, &value);
    TEST_ASSERT_EQUAL(0, err);
    TEST_ASSERT_EQUAL(INT16_MIN, value);
}

void test_bq769x2_subcmd_read_i4()
{
    int32_t value = 0;

    mem_bq_direct[0x40] = 0x00;     // LSB
    mem_bq_direct[0x41] = 0x00;
    mem_bq_direct[0x42] = 0x00;
    mem_bq_direct[0x43] = 0x80;     // MSB

    mem_bq_direct[0x60] = (uint8_t)~0x80;   // checksum
    mem_bq_direct[0x61] = 4 + 4;            // length

    int err = bq769x2_subcmd_read_i4(0, &value);
    TEST_ASSERT_EQUAL(0, err);
    TEST_ASSERT_EQUAL(INT32_MIN, value);
}

void test_bq769x2_subcmd_read_f4()
{
    float value = 0.0F;

    mem_bq_direct[0x40] = 0xB6;     // LSB
    mem_bq_direct[0x41] = 0xF3;
    mem_bq_direct[0x42] = 0x9D;
    mem_bq_direct[0x43] = 0x3F;     // MSB

    mem_bq_direct[0x60] = (uint8_t)~(0xB6 + 0xF3 + 0x9D + 0x3F);
    mem_bq_direct[0x61] = 4 + 4;

    int err = bq769x2_subcmd_read_f4(0, &value);
    TEST_ASSERT_EQUAL(0, err);
    TEST_ASSERT_EQUAL_FLOAT(1.234F, value);
}

void test_bq769x2_subcmd_write_u1()
{
    uint8_t chk_len_expected[2];
    uint8_t data_expected[4];

    data_expected[0x0] = 0xFF;

    chk_len_expected[0x0] = 0;        // checksum
    chk_len_expected[0x1] = 4 + 1;    // length

    int err = bq769x2_subcmd_write_u1(0, UINT8_MAX);
    TEST_ASSERT_EQUAL(0, err);

    TEST_ASSERT_EQUAL_HEX8_ARRAY(chk_len_expected, mem_bq_direct + 0x60, 2);
    TEST_ASSERT_EQUAL_HEX8_ARRAY(data_expected, mem_bq_direct + 0x40, 1);
}

void test_bq769x2_subcmd_write_u2()
{
    uint8_t chk_len_expected[2];
    uint8_t data_expected[4];

    data_expected[0x0] = 0x00;     // LSB
    data_expected[0x1] = 0xFF;     // MSB

    chk_len_expected[0x0] = 0;        // checksum
    chk_len_expected[0x1] = 4 + 2;    // length

    int err = bq769x2_subcmd_write_u2(0, 0xFF00);
    TEST_ASSERT_EQUAL(0, err);

    TEST_ASSERT_EQUAL_HEX8_ARRAY(chk_len_expected, mem_bq_direct + 0x60, 2);
    TEST_ASSERT_EQUAL_HEX8_ARRAY(data_expected, mem_bq_direct + 0x40, 2);
}

void test_bq769x2_subcmd_write_u4()
{
    uint8_t chk_len_expected[2];
    uint8_t data_expected[4];

    data_expected[0x0] = 0xAA;     // LSB
    data_expected[0x1] = 0xBB;
    data_expected[0x2] = 0xCC;
    data_expected[0x3] = 0xDD;     // MSB

    chk_len_expected[0x0] = (uint8_t)~(0xAA + 0xBB + 0xCC + 0xDD);
    chk_len_expected[0x1] = 4 + 4;

    int err = bq769x2_subcmd_write_u4(0, 0xDDCCBBAA);
    TEST_ASSERT_EQUAL(0, err);

    TEST_ASSERT_EQUAL_HEX8_ARRAY(chk_len_expected, mem_bq_direct + 0x60, 2);
    TEST_ASSERT_EQUAL_HEX8_ARRAY(data_expected, mem_bq_direct + 0x40, 4);
}

void test_bq769x2_subcmd_write_i1()
{
    uint8_t chk_len_expected[2];
    uint8_t data_expected[4];

    data_expected[0x0] = 0x80;

    chk_len_expected[0x0] = (uint8_t)~0x80;   // checksum
    chk_len_expected[0x1] = 4 + 1;            // length

    int err = bq769x2_subcmd_write_i1(0, INT8_MIN);
    TEST_ASSERT_EQUAL(0, err);

    TEST_ASSERT_EQUAL_HEX8_ARRAY(chk_len_expected, mem_bq_direct + 0x60, 2);
    TEST_ASSERT_EQUAL_HEX8_ARRAY(data_expected, mem_bq_direct + 0x40, 1);
}

void test_bq769x2_subcmd_write_i2()
{
    uint8_t chk_len_expected[2];
    uint8_t data_expected[4];

    data_expected[0x0] = 0x00;     // LSB
    data_expected[0x1] = 0x80;     // MSB

    chk_len_expected[0x0] = (uint8_t)~0x80;   // checksum
    chk_len_expected[0x1] = 4 + 2;            // length

    int err = bq769x2_subcmd_write_i2(0, INT16_MIN);
    TEST_ASSERT_EQUAL(0, err);

    TEST_ASSERT_EQUAL_HEX8_ARRAY(chk_len_expected, mem_bq_direct + 0x60, 2);
    TEST_ASSERT_EQUAL_HEX8_ARRAY(data_expected, mem_bq_direct + 0x40, 2);
}

void test_bq769x2_subcmd_write_i4()
{
    uint8_t chk_len_expected[2];
    uint8_t data_expected[4];

    data_expected[0x0] = 0x00;     // LSB
    data_expected[0x1] = 0x00;
    data_expected[0x2] = 0x00;
    data_expected[0x3] = 0x80;     // MSB

    chk_len_expected[0x0] = (uint8_t)~0x80;   // checksum
    chk_len_expected[0x1] = 4 + 4;            // length

    int err = bq769x2_subcmd_write_i4(0, INT32_MIN);
    TEST_ASSERT_EQUAL(0, err);

    TEST_ASSERT_EQUAL_HEX8_ARRAY(chk_len_expected, mem_bq_direct + 0x60, 2);
    TEST_ASSERT_EQUAL_HEX8_ARRAY(data_expected, mem_bq_direct + 0x40, 4);
}

void test_bq769x2_subcmd_write_f4()
{
    uint8_t chk_len_expected[2];
    uint8_t data_expected[4];

    data_expected[0x0] = 0xB6;     // LSB
    data_expected[0x1] = 0xF3;
    data_expected[0x2] = 0x9D;
    data_expected[0x3] = 0x3F;     // MSB

    chk_len_expected[0x0] = (uint8_t)~(0xB6 + 0xF3 + 0x9D + 0x3F);
    chk_len_expected[0x1] = 4 + 4;

    int err = bq769x2_subcmd_write_f4(0, 1.234F);
    TEST_ASSERT_EQUAL(0, err);

    TEST_ASSERT_EQUAL_HEX8_ARRAY(chk_len_expected, mem_bq_direct + 0x60, 2);
    TEST_ASSERT_EQUAL_HEX8_ARRAY(data_expected, mem_bq_direct + 0x40, 4);
}

int bq769x2_tests()
{
    UNITY_BEGIN();

    RUN_TEST(test_bq769x2_direct_read_u2);
    RUN_TEST(test_bq769x2_direct_read_i2);

    RUN_TEST(test_bq769x2_subcmd_read_u1);
    RUN_TEST(test_bq769x2_subcmd_read_u2);
    RUN_TEST(test_bq769x2_subcmd_read_u4);

    RUN_TEST(test_bq769x2_subcmd_read_i1);
    RUN_TEST(test_bq769x2_subcmd_read_i2);
    RUN_TEST(test_bq769x2_subcmd_read_i4);

    RUN_TEST(test_bq769x2_subcmd_read_f4);

    RUN_TEST(test_bq769x2_subcmd_write_u1);
    RUN_TEST(test_bq769x2_subcmd_write_u2);
    RUN_TEST(test_bq769x2_subcmd_write_u4);

    RUN_TEST(test_bq769x2_subcmd_write_i1);
    RUN_TEST(test_bq769x2_subcmd_write_i2);
    RUN_TEST(test_bq769x2_subcmd_write_i4);

    RUN_TEST(test_bq769x2_subcmd_write_f4);

    return UNITY_END();
}
```

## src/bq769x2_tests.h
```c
/*
 * Copyright (c) The Libre Solar Project Contributors
 *
 * SPDX-License-Identifier: Apache-2.0
 */

#ifndef BQ769X2_TESTS_H_
#define BQ769X2_TESTS_H_

int bq769x2_tests_interface();

int bq769x2_tests_functions();

#endif /* BQ769X2_TESTS_H_ */
```
